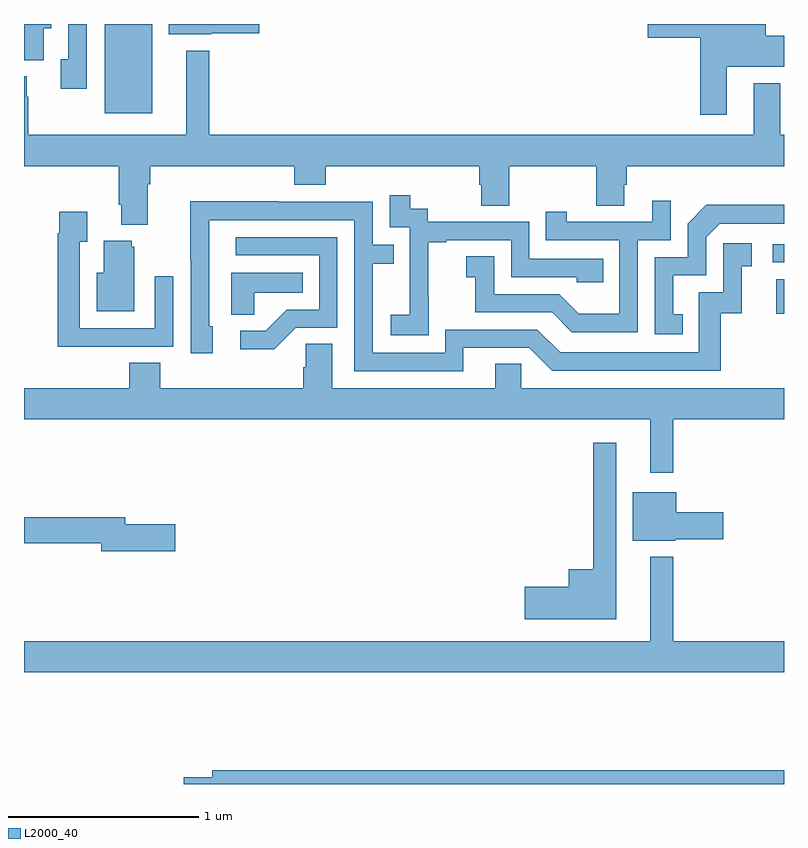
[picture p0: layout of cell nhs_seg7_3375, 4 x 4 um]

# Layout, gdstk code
import gdstk
lib = gdstk.Library(unit=1e-6, precision=1e-09)
def R(c, l, rs):  # rectangles x0, y0, x1, y1
    for r in rs: c.add(gdstk.rectangle(r[:2], r[2:], *l))
def P(c, l, *ps):  # polygons
    for p in ps: c.add(gdstk.Polygon(p, *l))
L2000_40 = (2000, 40)

nhs_seg7_3375 = lib.new_cell('nhs_seg7_3375')
R(nhs_seg7_3375, L2000_40, [(328.958,1030.476,329,1030.657), (328.941,1030.746,329,1030.842), (325.424,1031.531,325.675,1032)])
P(nhs_seg7_3375, L2000_40, [(325.105,1031.978),(325.144,1031.978),(325.144,1032),(325,1032),(325,1031.81),(325.105,1031.81)],
  [(328.699,1031.774),(329,1031.774),(329,1031.938),(328.903,1031.938),(328.903,1032),(328.284,1032),(328.284,1031.927),(328.559,1031.927),(328.559,1031.523),(328.699,1031.523)],
  [(325.986,1031.951),(326.239,1031.951),(326.239,1032),(325.763,1032),(325.763,1031.945),(325.986,1031.945)],
  [(325.329,1032),(325.233,1032),(325.233,1031.814),(325.193,1031.814),(325.193,1031.658),(325.329,1031.658)],
  [(325.651,1031.156),(325.664,1031.156),(325.664,1031.252),(326.423,1031.252),(326.423,1031.153),(326.588,1031.153),(326.588,1031.252),(327.395,1031.252),(327.395,1031.154),(327.407,1031.154),(327.407,1031.044),(327.555,1031.044),(327.555,1031.252),(328.012,1031.252),(328.012,1031.044),(328.159,1031.044),(328.159,1031.154),(328.172,1031.154),(328.172,1031.252),(329,1031.252),(329,1031.416),(328.981,1031.416),(328.981,1031.689),(328.841,1031.689),(328.841,1031.416),(325.975,1031.416),(325.975,1031.86),(325.853,1031.86),(325.853,1031.416),(325.023,1031.416),(325.023,1031.618),(325.015,1031.618),(325.015,1031.725),(325,1031.725),(325,1031.252),(325.499,1031.252),(325.499,1031.05),(325.511,1031.05),(325.511,1030.943),(325.651,1030.943)],
  [(327.129,1030.567),(327.128,1030.567),(327.128,1030.851),(327.223,1030.851),(327.223,1030.863),(327.564,1030.863),(327.564,1030.668),(327.909,1030.668),(327.909,1030.641),(328.049,1030.641),(328.049,1030.764),(327.66,1030.764),(327.66,1030.959),(327.126,1030.959),(327.126,1031.028),(327.034,1031.028),(327.034,1031.098),(326.925,1031.098),(326.925,1030.929),(327.03,1030.929),(327.03,1030.7),(327.029,1030.7),(327.029,1030.471),(326.931,1030.471),(326.931,1030.361),(327.129,1030.361)],
  [(328.23,1030.863),(328.404,1030.863),(328.404,1031.071),(328.307,1031.071),(328.307,1030.959),(327.856,1030.959),(327.856,1031.011),(327.745,1031.011),(327.745,1030.863),(328.134,1030.863),(328.134,1030.474),(327.92,1030.474),(327.816,1030.578),(327.474,1030.578),(327.474,1030.777),(327.327,1030.777),(327.327,1030.667),(327.376,1030.667),(327.376,1030.482),(327.779,1030.482),(327.884,1030.377),(328.23,1030.377)],
  [(327.313,1030.296),(327.66,1030.296),(327.78,1030.176),(328.667,1030.176),(328.667,1030.478),(328.778,1030.478),(328.778,1030.725),(328.831,1030.725),(328.831,1030.846),(328.68,1030.846),(328.68,1030.587),(328.551,1030.587),(328.551,1030.272),(327.822,1030.272),(327.702,1030.392),(327.216,1030.392),(327.216,1030.269),(326.835,1030.269),(326.835,1030.738),(326.945,1030.738),(326.945,1030.839),(326.835,1030.839),(326.835,1031.064),(326.339,1031.064),(326.339,1031.066),(325.876,1031.066),(325.876,1030.759),(325.878,1030.759),(325.878,1030.266),(325.993,1030.266),(325.993,1030.41),(325.974,1030.41),(325.974,1030.968),(326.739,1030.968),(326.739,1030.173),(327.313,1030.173)],
  [(328.466,1030.473),(328.417,1030.473),(328.417,1030.677),(328.59,1030.677),(328.59,1030.878),(328.662,1030.95),(329,1030.95),(329,1031.048),(328.592,1031.048),(328.494,1030.95),(328.494,1030.773),(328.32,1030.773),(328.32,1030.368),(328.466,1030.368)],
  [(325.469,1030.302),(325.785,1030.302),(325.785,1030.672),(325.689,1030.672),(325.689,1030.398),(325.293,1030.398),(325.293,1030.855),(325.333,1030.855),(325.333,1031.011),(325.185,1031.011),(325.185,1030.898),(325.177,1030.898),(325.177,1030.301),(325.469,1030.301)],
  [(326.43,1030.401),(326.649,1030.401),(326.649,1030.878),(326.115,1030.878),(326.115,1030.782),(326.553,1030.782),(326.553,1030.497),(326.384,1030.497),(326.273,1030.386),(326.139,1030.386),(326.139,1030.289),(326.317,1030.289)],
  [(325.579,1030.827),(325.568,1030.827),(325.568,1030.858),(325.421,1030.858),(325.421,1030.69),(325.382,1030.69),(325.382,1030.487),(325.579,1030.487)],
  [(326.211,1030.586),(326.468,1030.586),(326.468,1030.69),(326.09,1030.69),(326.09,1030.471),(326.211,1030.471)],
  [(328.417,1029.92),(329,1029.92),(329,1030.084),(327.618,1030.084),(327.618,1030.211),(327.479,1030.211),(327.479,1030.084),(326.623,1030.084),(326.623,1030.316),(326.484,1030.316),(326.484,1030.193),(326.471,1030.193),(326.471,1030.084),(325.718,1030.084),(325.718,1030.217),(325.553,1030.217),(325.553,1030.084),(325,1030.084),(325,1029.92),(328.295,1029.92),(328.295,1029.639),(328.417,1029.639)],
  [(328.117,1029.796),(327.996,1029.796),(327.996,1029.13),(327.866,1029.13),(327.866,1029.038),(327.636,1029.038),(327.636,1028.867),(328.117,1028.867)],
  [(328.428,1029.287),(328.681,1029.287),(328.681,1029.429),(328.432,1029.429),(328.432,1029.535),(328.205,1029.535),(328.205,1029.281),(328.428,1029.281)],
  [(325.795,1029.368),(325.534,1029.368),(325.534,1029.404),(325,1029.404),(325,1029.268),(325.406,1029.268),(325.406,1029.226),(325.795,1029.226)],
  [(329,1028.752),(328.417,1028.752),(328.417,1029.196),(328.295,1029.196),(328.295,1028.752),(325,1028.752),(325,1028.588),(329,1028.588)],
  [(329,1028.072),(325.991,1028.072),(325.991,1028.036),(325.842,1028.036),(325.842,1028),(329,1028)])

lib.write_gds('nhs_seg7_3375.gds')
